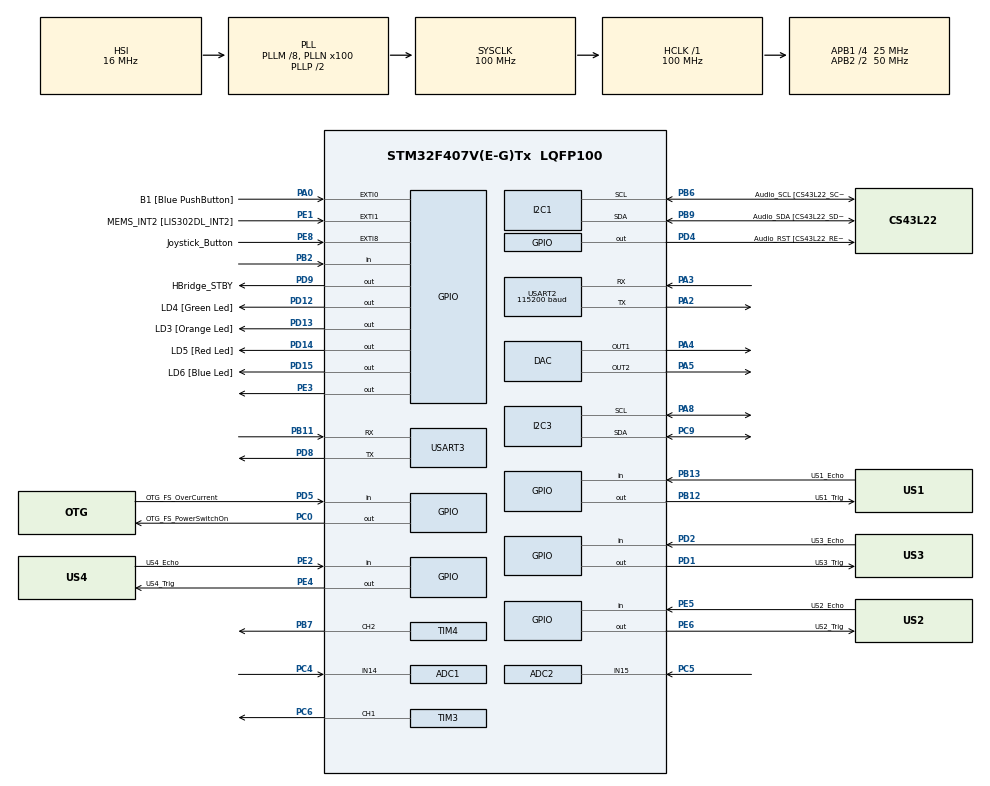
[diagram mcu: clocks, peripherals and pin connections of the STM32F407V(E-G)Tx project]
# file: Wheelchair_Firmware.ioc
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ADC1.Channel-2\#ChannelRegularConversion=ADC_CHANNEL_14
ADC1.ClockPrescaler=ADC_CLOCK_SYNC_PCLK_DIV4
ADC1.NbrOfConversionFlag=1
ADC1.Rank-2\#ChannelRegularConversion=1
ADC1.SamplingTime-2\#ChannelRegularConversion=ADC_SAMPLETIME_3CYCLES
ADC1.master=1
ADC2.Channel-0\#ChannelRegularConversion=ADC_CHANNEL_15
ADC2.ClockPrescaler=ADC_CLOCK_SYNC_PCLK_DIV4
ADC2.NbrOfConversionFlag=1
ADC2.Rank-0\#ChannelRegularConversion=1
ADC2.SamplingTime-0\#ChannelRegularConversion=ADC_SAMPLETIME_3CYCLES
I2C3.DualAddressMode=I2C_DUALADDRESS_DISABLE
I2C3.GeneralCallMode=I2C_GENERALCALL_ENABLE
I2C3.I2C_Mode=I2C_Fast
I2C3.NoStretchMode=I2C_NOSTRETCH_DISABLE
I2C3.OwnAddress=0x10
Mcu.Family=STM32F4
Mcu.Name=STM32F407V(E-G)Tx
Mcu.Package=LQFP100
NVIC.EXTI0_IRQn=true\:0\:0\:false\:false\:true\:true\:true
NVIC.EXTI9_5_IRQn=true\:1\:0\:true\:true\:true\:1\:true\:true
NVIC.PriorityGroup=NVIC_PRIORITYGROUP_4
PA0-WKUP.GPIO_Label=B1 [Blue PushButton]
PA0-WKUP.Signal=GPXTI0
PA10.GPIO_Label=OTG_FS_ID
PA10.GPIO_Mode=GPIO_MODE_AF_PP
PA10.GPIO_PuPd=GPIO_NOPULL
PA10.GPIO_Speed=GPIO_SPEED_FREQ_LOW
PA10.Signal=USB_OTG_FS_ID
PA11.GPIO_Label=OTG_FS_DM
PA11.GPIO_Mode=GPIO_MODE_AF_PP
PA11.GPIO_PuPd=GPIO_NOPULL
PA11.GPIO_Speed=GPIO_SPEED_FREQ_LOW
PA11.Signal=USB_OTG_FS_DM
PA12.GPIO_Label=OTG_FS_DP
PA12.GPIO_Mode=GPIO_MODE_AF_PP
PA12.GPIO_PuPd=GPIO_NOPULL
PA12.GPIO_Speed=GPIO_SPEED_FREQ_LOW
PA12.Signal=USB_OTG_FS_DP
PA13.GPIO_Label=SWDIO
PA13.Signal=SYS_JTMS-SWDIO
PA14.GPIO_Label=SWCLK
PA14.Signal=SYS_JTCK-SWCLK
PA2.Mode=Asynchronous
PA2.Signal=USART2_TX
PA3.Mode=Asynchronous
PA3.Signal=USART2_RX
PA4.Signal=COMP_DAC1_group
PA5.Signal=COMP_DAC2_group
PA6.GPIO_Label=SPI1_MISO [LIS302DL_SDO]
PA6.GPIO_Mode=GPIO_MODE_AF_PP
PA6.GPIO_PuPd=GPIO_NOPULL
PA6.GPIO_Speed=GPIO_SPEED_FREQ_LOW
PA6.Signal=SPI1_MISO
PA7.GPIO_Label=SPI1_MOSI [LIS302DL_SDA/SDI/SDO]
PA7.GPIO_Mode=GPIO_MODE_AF_PP
PA7.GPIO_PuPd=GPIO_NOPULL
PA7.GPIO_Speed=GPIO_SPEED_FREQ_LOW
PA7.Signal=SPI1_MOSI
PA8.Mode=I2C
PA8.Signal=I2C3_SCL
PA9.GPIO_Label=VBUS_FS
PA9.GPIO_Mode=GPIO_MODE_INPUT
PA9.GPIO_PuPd=GPIO_NOPULL
PA9.Signal=USB_OTG_FS_VBUS
PB10.GPIO_Label=CLK_IN [MP45DT02_CLK]
PB10.GPIO_Mode=GPIO_MODE_AF_PP
PB10.GPIO_PuPd=GPIO_NOPULL
PB10.GPIO_Speed=GPIO_SPEED_FREQ_LOW
PB10.Signal=I2S2_CK
PB11.Mode=Asynchronous
PB11.Signal=USART3_RX
PB12.GPIO_Label=US1_Trig
PB12.Signal=GPIO_Output
PB13.GPIO_Label=US1_Echo
PB13.Signal=GPIO_Input
PB2.Signal=GPIO_Input
PB3.GPIO_Label=SWO
PB3.Signal=SYS_JTDO-SWO
PB6.GPIO_Label=Audio_SCL [CS43L22_SCL]
PB6.GPIO_Mode=GPIO_MODE_AF_OD
PB6.GPIO_PuPd=GPIO_NOPULL
PB6.GPIO_Speed=GPIO_SPEED_FREQ_LOW
PB6.Mode=I2C
PB6.Signal=I2C1_SCL
PB7.Signal=S_TIM4_CH2
PB9.GPIO_Label=Audio_SDA [CS43L22_SDA]
PB9.GPIO_Mode=GPIO_MODE_AF_OD
PB9.GPIO_PuPd=GPIO_NOPULL
PB9.GPIO_Speed=GPIO_SPEED_FREQ_LOW
PB9.Mode=I2C
PB9.Signal=I2C1_SDA
PC0.GPIO_Label=OTG_FS_PowerSwitchOn
PC0.GPIO_PuPd=GPIO_NOPULL
PC0.GPIO_Speed=GPIO_SPEED_FREQ_LOW
PC0.PinState=GPIO_PIN_SET
PC0.Signal=GPIO_Output
PC10.GPIO_Label=I2S3_SCK [CS43L22_SCLK]
PC10.GPIO_Mode=GPIO_MODE_AF_PP
PC10.GPIO_PuPd=GPIO_NOPULL
PC10.GPIO_Speed=GPIO_SPEED_FREQ_LOW
PC10.Signal=I2S3_CK
PC12.GPIO_Label=I2S3_SD [CS43L22_SDIN]
PC12.GPIO_Mode=GPIO_MODE_AF_PP
PC12.GPIO_PuPd=GPIO_NOPULL
PC12.GPIO_Speed=GPIO_SPEED_FREQ_LOW
PC12.Signal=I2S3_SD
PC14-OSC32_IN.GPIO_Label=PC14-OSC32_IN
PC14-OSC32_IN.Signal=RCC_OSC32_IN
PC15-OSC32_OUT.GPIO_Label=PC15-OSC32_OUT
PC15-OSC32_OUT.Signal=RCC_OSC32_OUT
PC3.GPIO_Label=PDM_OUT [MP45DT02_DOUT]
PC3.GPIO_Mode=GPIO_MODE_AF_PP
PC3.GPIO_PuPd=GPIO_NOPULL
PC3.GPIO_Speed=GPIO_SPEED_FREQ_LOW
PC3.Signal=I2S2_SD
PC4.Signal=ADCx_IN14
PC5.Signal=ADCx_IN15
PC6.Signal=S_TIM3_CH1
PC7.GPIO_Label=I2S3_MCK [CS43L22_MCLK]
PC7.GPIO_Mode=GPIO_MODE_AF_PP
PC7.GPIO_PuPd=GPIO_NOPULL
PC7.GPIO_Speed=GPIO_SPEED_FREQ_LOW
PC7.Signal=I2S3_MCK
PC9.Mode=I2C
PC9.Signal=I2C3_SDA
PD1.GPIO_Label=US3_Trig
PD1.Signal=GPIO_Output
PD12.GPIO_Label=LD4 [Green Led]
PD12.GPIO_PuPd=GPIO_NOPULL
PD12.GPIO_Speed=GPIO_SPEED_FREQ_LOW
PD12.Signal=GPIO_Output
PD13.GPIO_Label=LD3 [Orange Led]
PD13.GPIO_PuPd=GPIO_NOPULL
PD13.GPIO_Speed=GPIO_SPEED_FREQ_LOW
PD13.Signal=GPIO_Output
PD14.GPIO_Label=LD5 [Red Led]
PD14.GPIO_PuPd=GPIO_NOPULL
PD14.GPIO_Speed=GPIO_SPEED_FREQ_LOW
PD14.Signal=GPIO_Output
PD15.GPIO_Label=LD6 [Blue Led]
PD15.GPIO_PuPd=GPIO_NOPULL
PD15.GPIO_Speed=GPIO_SPEED_FREQ_LOW
PD15.Signal=GPIO_Output
PD2.GPIO_Label=US3_Echo
PD2.Signal=GPIO_Input
PD4.GPIO_Label=Audio_RST [CS43L22_RESET]
PD4.GPIO_PuPd=GPIO_NOPULL
PD4.GPIO_Speed=GPIO_SPEED_FREQ_LOW
PD4.Signal=GPIO_Output
PD5.GPIO_Label=OTG_FS_OverCurrent
PD5.GPIO_Mode=GPIO_MODE_INPUT
PD5.GPIO_PuPd=GPIO_NOPULL
PD5.Signal=GPIO_Input
PD8.Mode=Asynchronous
PD8.Signal=USART3_TX
PD9.GPIO_Label=HBridge_STBY
PD9.GPIO_ModeDefaultOutputPP=GPIO_MODE_OUTPUT_OD
PD9.PinState=GPIO_PIN_SET
PD9.Signal=GPIO_Output
PE1.GPIO_Label=MEMS_INT2 [LIS302DL_INT2]
PE1.GPIO_ModeDefaultEXTI=GPIO_MODE_EVT_RISING
PE1.GPIO_PuPd=GPIO_NOPULL
PE1.Signal=GPXTI1
PE2.GPIO_Label=US4_Echo
PE2.Signal=GPIO_Input
PE3.Signal=GPIO_Output
PE4.GPIO_Label=US4_Trig
PE4.Signal=GPIO_Output
PE5.GPIO_Label=US2_Echo
PE5.Signal=GPIO_Input
PE6.GPIO_Label=US2_Trig
PE6.Signal=GPIO_Output
PE8.GPIO_Label=Joystick_Button
PE8.GPIO_ModeDefaultEXTI=GPIO_MODE_IT_FALLING
PE8.GPIO_PuPd=GPIO_PULLUP
PE8.Signal=GPXTI8
PH0-OSC_IN.GPIO_Label=PH0-OSC_IN
PH0-OSC_IN.Signal=RCC_OSC_IN
PH1-OSC_OUT.GPIO_Label=PH1-OSC_OUT
PH1-OSC_OUT.Signal=RCC_OSC_OUT
ProjectManager.HeapSize=0x200
ProjectManager.StackSize=0x400
ProjectManager.TargetToolchain=STM32CubeIDE
RCC.48MHZClocksFreq_Value=28571428.57142857
RCC.AHBFreq_Value=100000000
RCC.APB1CLKDivider=RCC_HCLK_DIV4
RCC.APB1Freq_Value=25000000
RCC.APB1TimFreq_Value=50000000
RCC.APB2CLKDivider=RCC_HCLK_DIV2
RCC.APB2Freq_Value=50000000
RCC.APB2TimFreq_Value=100000000
RCC.CortexFreq_Value=100000000
RCC.HCLKFreq_Value=100000000
RCC.HSE_VALUE=8000000
RCC.HSI_VALUE=16000000
RCC.LSE_VALUE=32768
RCC.PLLM=8
RCC.PLLN=100
RCC.PLLQ=7
RCC.SYSCLKFreq_VALUE=100000000
RCC.SYSCLKSource=RCC_SYSCLKSOURCE_PLLCLK
RCC.VCOOutputFreq_Value=200000000
SH.ADCx_IN14.0=ADC1_IN14,IN14
SH.ADCx_IN15.0=ADC2_IN15,IN15
SH.COMP_DAC1_group.0=DAC_OUT1,DAC_OUT1
SH.COMP_DAC2_group.0=DAC_OUT2,DAC_OUT2
SH.S_TIM3_CH1.0=TIM3_CH1,PWM Generation1 CH1
SH.S_TIM4_CH2.0=TIM4_CH2,PWM Generation2 CH2
TIM1.Period=65535
TIM1.Prescaler=168
TIM3.Channel-PWM\ Generation1\ CH1=TIM_CHANNEL_1
TIM3.Period=100
TIM3.Prescaler=80
TIM4.Channel-PWM\ Generation2\ CH2=TIM_CHANNEL_2
TIM4.Period=100
TIM4.Prescaler=12
USART2.BaudRate=115200
USART2.VirtualMode=VM_ASYNC
USART3.VirtualMode=VM_ASYNC
VP_TIM1_VS_ClockSourceINT.Mode=Internal
VP_TIM3_VS_ClockSourceINT.Mode=Internal
VP_TIM4_VS_ClockSourceINT.Mode=Internal
board=STM32F407G-DISC1

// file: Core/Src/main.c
/* USER CODE BEGIN Header */
/**
  ******************************************************************************
  * @file           : main.c
  * @brief          : Main program body
  ******************************************************************************
  * @attention
  *
  * <h2><center>&copy; Copyright (c) 2020 STMicroelectronics.
  * All rights reserved.</center></h2>
  *
  * This software component is licensed by ST under BSD 3-Clause license,
  * the "License"; You may not use this file except in compliance with the
  * License. You may obtain a copy of the License at:
  *                        opensource.org/licenses/BSD-3-Clause
  *
  ******************************************************************************
  */
/* USER CODE END Header */

#include "main.h"

/* USER CODE BEGIN Includes */
#include <string.h>
#include <stdio.h>
/* USER CODE END Includes */

/* USER CODE BEGIN PD */
// ADC
#define ADC_MAX 4096
#define ADC_MIN 0
// PWM (stick)
#define PWM_DUTY_MAX 100
#define STICK_Y_MID 2152
#define STICK_X_MID 2033
#define STICK_MARGIN 300
// PWM (voice)
#define VOICE_PWM 50
// H-Bridge GPIOs
#define BRIDGE_GPIO GPIOD
#define BRIDGE_PIN_1 GPIO_PIN_12
#define BRIDGE_PIN_2 GPIO_PIN_13
#define BRIDGE_PIN_3 GPIO_PIN_14
#define BRIDGE_PIN_4 GPIO_PIN_15
// Ultrasonic Min Distance
#define US_MIN 25
// UART
#define UART_TIMEOUT 100
/* USER CODE END PD */

ADC_HandleTypeDef hadc1;
ADC_HandleTypeDef hadc2;

DAC_HandleTypeDef hdac;

I2C_HandleTypeDef hi2c1;
I2C_HandleTypeDef hi2c3;

TIM_HandleTypeDef htim1;
TIM_HandleTypeDef htim3;
TIM_HandleTypeDef htim4;

UART_HandleTypeDef huart2;
UART_HandleTypeDef huart3;

/* USER CODE BEGIN PV */
static uint16_t ADC_1, ADC_2; // ADC values
static uint16_t PWM_1, PWM_2; // PWM values (range 0 - 99)
static GPIO_PinState
    BRIDGE_PIN_1_State, BRIDGE_PIN_2_State, BRIDGE_PIN_3_State, BRIDGE_PIN_4_State;
GPIO_PinState button_state;
volatile uint8_t cmd[UART_CMD_LENGTH]; // UART receive cmd
volatile uint8_t voice = 0;
uint16_t count_1, count_2, count_3;
uint16_t distance_1, distance_2, distance_3;
char msg_1[50];
char msg_2[50];
char msg_3[50];
/* USER CODE END PV */

void SystemClock_Config(void);
static void MX_GPIO_Init(void);
static void MX_ADC1_Init(void);
static void MX_USART2_UART_Init(void);
static void MX_ADC2_Init(void);
static void MX_I2C1_Init(void);
static void MX_DAC_Init(void);
static void MX_I2C3_Init(void);
static void MX_TIM3_Init(void);
static void MX_TIM4_Init(void);
static void MX_USART3_UART_Init(void);
static void MX_TIM1_Init(void);
static void MX_NVIC_Init(void);
/* USER CODE BEGIN PFP */
static uint16_t ADC_Read(ADC_HandleTypeDef*);
static void manual_driving(void);
static void voice_driving(void);

static void forward(void);
static void backward(void);
static void stop(void);
static void clockwise(void);
static void counterclockwise(void);
static void Ultrasonic_Read(GPIO_TypeDef* GPIOx, uint16_t Trig_Pin,
          uint16_t Echo_Pin, uint16_t* count, uint16_t* distance);
static void Delay_us(uint16_t);
static void Reset_Timer_us();
static uint16_t Get_Timer_us();

/* USER CODE END PFP */

/* USER CODE BEGIN 0 */
// FOR DEBUGGING
int CASE;
/* USER CODE END 0 */

int main(void)
{

  /* MCU Configuration--------------------------------------------------------*/

  /* Reset of all peripherals, Initializes the Flash interface and the Systick. */
  HAL_Init();

  /* Configure the system clock */
  SystemClock_Config();

  /* Initialize all configured peripherals */
  MX_GPIO_Init();
  MX_ADC1_Init();
  MX_USART2_UART_Init();
  MX_ADC2_Init();
  MX_I2C1_Init();
  MX_DAC_Init();
  MX_I2C3_Init();
  MX_TIM3_Init();
  MX_TIM4_Init();
  MX_USART3_UART_Init();
  MX_TIM1_Init();

  /* Initialize interrupts */
  MX_NVIC_Init();

  /* Infinite loop */
  /* USER CODE BEGIN WHILE */
  // Start TIM1 (for us delay)
  HAL_TIM_Base_Start(&htim1);
  // Start PWMs
  HAL_TIM_PWM_Start (&htim3, TIM_CHANNEL_1);
  HAL_TIM_PWM_Start (&htim4, TIM_CHANNEL_2);
  while (1)
  {
    if (!voice)
    {
      // Read ADC value
      ADC_1 = ADC_Read(&hadc1);
      ADC_2 = ADC_Read(&hadc2);
      // Motor controlling logics
      manual_driving();
    }
    else
    {
      HAL_UART_Receive (&huart3, (uint8_t*)cmd, UART_CMD_LENGTH, UART_TIMEOUT); // receiving message from pi
      // Read distances
      Ultrasonic_Read(GPIOE, US4_Trig_Pin, US4_Echo_Pin, &count_1, &distance_1);
      Ultrasonic_Read(GPIOE, US2_Trig_Pin, US2_Echo_Pin, &count_2, &distance_2);
      Ultrasonic_Read(GPIOD, US3_Trig_Pin, US3_Echo_Pin, &count_3, &distance_3);
      if ((distance_1 < US_MIN) || (distance_2 < US_MIN) || (distance_3 < US_MIN))
      {
        cmd[0] = ' ';
      }
      // Motor controlling logics
      voice_driving();

      // debugging message
      sprintf(msg_1, "delay_1 = %d us, distance_1 = %d cm\r\n ", count_1, distance_1);
      sprintf(msg_2, "delay_2 = %d us, distance_2 = %d cm\r\n ", count_2, distance_2);
      sprintf(msg_3, "delay_3 = %d us, distance_3 = %d cm\r\n\r\n ", count_3, distance_3);
      HAL_UART_Transmit(&huart2, (uint8_t*)msg_1, strlen(msg_1), HAL_MAX_DELAY);
      HAL_UART_Transmit(&huart2, (uint8_t*)msg_2, strlen(msg_2), HAL_MAX_DELAY);
      HAL_UART_Transmit(&huart2, (uint8_t*)msg_3, strlen(msg_3), HAL_MAX_DELAY);
    }
    /* USER CODE END WHILE */

  }
}

void SystemClock_Config(void)
{
  RCC_OscInitTypeDef RCC_OscInitStruct = {0};
  RCC_ClkInitTypeDef RCC_ClkInitStruct = {0};

  /** Configure the main internal regulator output voltage
  */
  __HAL_RCC_PWR_CLK_ENABLE();
  __HAL_PWR_VOLTAGESCALING_CONFIG(PWR_REGULATOR_VOLTAGE_SCALE1);
  /** Initializes the CPU, AHB and APB busses clocks
  */
  RCC_OscInitStruct.OscillatorType = RCC_OSCILLATORTYPE_HSI;
  RCC_OscInitStruct.HSIState = RCC_HSI_ON;
  RCC_OscInitStruct.HSICalibrationValue = RCC_HSICALIBRATION_DEFAULT;
  RCC_OscInitStruct.PLL.PLLState = RCC_PLL_ON;
  RCC_OscInitStruct.PLL.PLLSource = RCC_PLLSOURCE_HSI;
  RCC_OscInitStruct.PLL.PLLM = 8;
  RCC_OscInitStruct.PLL.PLLN = 100;
  RCC_OscInitStruct.PLL.PLLP = RCC_PLLP_DIV2;
  RCC_OscInitStruct.PLL.PLLQ = 7;
  if (HAL_RCC_OscConfig(&RCC_OscInitStruct) != HAL_OK)
  {
    Error_Handler();
  }
  /** Initializes the CPU, AHB and APB busses clocks
  */
  RCC_ClkInitStruct.ClockType = RCC_CLOCKTYPE_HCLK|RCC_CLOCKTYPE_SYSCLK
                              |RCC_CLOCKTYPE_PCLK1|RCC_CLOCKTYPE_PCLK2;
  RCC_ClkInitStruct.SYSCLKSource = RCC_SYSCLKSOURCE_PLLCLK;
  RCC_ClkInitStruct.AHBCLKDivider = RCC_SYSCLK_DIV1;
  RCC_ClkInitStruct.APB1CLKDivider = RCC_HCLK_DIV4;
  RCC_ClkInitStruct.APB2CLKDivider = RCC_HCLK_DIV2;

  if (HAL_RCC_ClockConfig(&RCC_ClkInitStruct, FLASH_LATENCY_3) != HAL_OK)
  {
    Error_Handler();
  }
}

/**
  * @brief NVIC Configuration.
  * @retval None
  */
static void MX_NVIC_Init(void)
{
  /* EXTI9_5_IRQn interrupt configuration */
  HAL_NVIC_SetPriority(EXTI9_5_IRQn, 1, 0);
  HAL_NVIC_EnableIRQ(EXTI9_5_IRQn);
}

static void MX_ADC1_Init(void)
{

  ADC_ChannelConfTypeDef sConfig = {0};

  /** Configure the global features of the ADC (Clock, Resolution, Data Alignment and number of conversion)
  */
  hadc1.Instance = ADC1;
  hadc1.Init.ClockPrescaler = ADC_CLOCK_SYNC_PCLK_DIV4;
  hadc1.Init.Resolution = ADC_RESOLUTION_12B;
  hadc1.Init.ScanConvMode = DISABLE;
  hadc1.Init.ContinuousConvMode = DISABLE;
  hadc1.Init.DiscontinuousConvMode = DISABLE;
  hadc1.Init.ExternalTrigConvEdge = ADC_EXTERNALTRIGCONVEDGE_NONE;
  hadc1.Init.ExternalTrigConv = ADC_SOFTWARE_START;
  hadc1.Init.DataAlign = ADC_DATAALIGN_RIGHT;
  hadc1.Init.NbrOfConversion = 1;
  hadc1.Init.DMAContinuousRequests = DISABLE;
  hadc1.Init.EOCSelection = ADC_EOC_SINGLE_CONV;
  if (HAL_ADC_Init(&hadc1) != HAL_OK)
  {
    Error_Handler();
  }
  /** Configure for the selected ADC regular channel its corresponding rank in the sequencer and its sample time.
  */
  sConfig.Channel = ADC_CHANNEL_14;
  sConfig.Rank = 1;
  sConfig.SamplingTime = ADC_SAMPLETIME_3CYCLES;
  if (HAL_ADC_ConfigChannel(&hadc1, &sConfig) != HAL_OK)
  {
    Error_Handler();
  }

}

static void MX_ADC2_Init(void)
{

  ADC_ChannelConfTypeDef sConfig = {0};

  /** Configure the global features of the ADC (Clock, Resolution, Data Alignment and number of conversion)
  */
  hadc2.Instance = ADC2;
  hadc2.Init.ClockPrescaler = ADC_CLOCK_SYNC_PCLK_DIV4;
  hadc2.Init.Resolution = ADC_RESOLUTION_12B;
  hadc2.Init.ScanConvMode = DISABLE;
  hadc2.Init.ContinuousConvMode = DISABLE;
  hadc2.Init.DiscontinuousConvMode = DISABLE;
  hadc2.Init.ExternalTrigConvEdge = ADC_EXTERNALTRIGCONVEDGE_NONE;
  hadc2.Init.ExternalTrigConv = ADC_SOFTWARE_START;
  hadc2.Init.DataAlign = ADC_DATAALIGN_RIGHT;
  hadc2.Init.NbrOfConversion = 1;
  hadc2.Init.DMAContinuousRequests = DISABLE;
  hadc2.Init.EOCSelection = ADC_EOC_SINGLE_CONV;
  if (HAL_ADC_Init(&hadc2) != HAL_OK)
  {
    Error_Handler();
  }
  /** Configure for the selected ADC regular channel its corresponding rank in the sequencer and its sample time.
  */
  sConfig.Channel = ADC_CHANNEL_15;
  sConfig.Rank = 1;
  sConfig.SamplingTime = ADC_SAMPLETIME_3CYCLES;
  if (HAL_ADC_ConfigChannel(&hadc2, &sConfig) != HAL_OK)
  {
    Error_Handler();
  }

}

static void MX_DAC_Init(void)
{

  DAC_ChannelConfTypeDef sConfig = {0};

  /** DAC Initialization
  */
  hdac.Instance = DAC;
  if (HAL_DAC_Init(&hdac) != HAL_OK)
  {
    Error_Handler();
  }
  /** DAC channel OUT1 config
  */
  sConfig.DAC_Trigger = DAC_TRIGGER_NONE;
  sConfig.DAC_OutputBuffer = DAC_OUTPUTBUFFER_ENABLE;
  if (HAL_DAC_ConfigChannel(&hdac, &sConfig, DAC_CHANNEL_1) != HAL_OK)
  {
    Error_Handler();
  }
  /** DAC channel OUT2 config
  */
  if (HAL_DAC_ConfigChannel(&hdac, &sConfig, DAC_CHANNEL_2) != HAL_OK)
  {
    Error_Handler();
  }

}

static void MX_I2C1_Init(void)
{

  hi2c1.Instance = I2C1;
  hi2c1.Init.ClockSpeed = 100000;
  hi2c1.Init.DutyCycle = I2C_DUTYCYCLE_2;
  hi2c1.Init.OwnAddress1 = 0;
  hi2c1.Init.AddressingMode = I2C_ADDRESSINGMODE_7BIT;
  hi2c1.Init.DualAddressMode = I2C_DUALADDRESS_DISABLE;
  hi2c1.Init.OwnAddress2 = 0;
  hi2c1.Init.GeneralCallMode = I2C_GENERALCALL_DISABLE;
  hi2c1.Init.NoStretchMode = I2C_NOSTRETCH_DISABLE;
  if (HAL_I2C_Init(&hi2c1) != HAL_OK)
  {
    Error_Handler();
  }

}

static void MX_I2C3_Init(void)
{

  hi2c3.Instance = I2C3;
  hi2c3.Init.ClockSpeed = 400000;
  hi2c3.Init.DutyCycle = I2C_DUTYCYCLE_2;
  hi2c3.Init.OwnAddress1 = 32;
  hi2c3.Init.AddressingMode = I2C_ADDRESSINGMODE_7BIT;
  hi2c3.Init.DualAddressMode = I2C_DUALADDRESS_DISABLE;
  hi2c3.Init.OwnAddress2 = 0;
  hi2c3.Init.GeneralCallMode = I2C_GENERALCALL_ENABLE;
  hi2c3.Init.NoStretchMode = I2C_NOSTRETCH_DISABLE;
  if (HAL_I2C_Init(&hi2c3) != HAL_OK)
  {
    Error_Handler();
  }

}

static void MX_TIM1_Init(void)
{

  TIM_ClockConfigTypeDef sClockSourceConfig = {0};
  TIM_MasterConfigTypeDef sMasterConfig = {0};

  htim1.Instance = TIM1;
  htim1.Init.Prescaler = 168;
  htim1.Init.CounterMode = TIM_COUNTERMODE_UP;
  htim1.Init.Period = 65535;
  htim1.Init.ClockDivision = TIM_CLOCKDIVISION_DIV1;
  htim1.Init.RepetitionCounter = 0;
  htim1.Init.AutoReloadPreload = TIM_AUTORELOAD_PRELOAD_DISABLE;
  if (HAL_TIM_Base_Init(&htim1) != HAL_OK)
  {
    Error_Handler();
  }
  sClockSourceConfig.ClockSource = TIM_CLOCKSOURCE_INTERNAL;
  if (HAL_TIM_ConfigClockSource(&htim1, &sClockSourceConfig) != HAL_OK)
  {
    Error_Handler();
  }
  sMasterConfig.MasterOutputTrigger = TIM_TRGO_RESET;
  sMasterConfig.MasterSlaveMode = TIM_MASTERSLAVEMODE_DISABLE;
  if (HAL_TIMEx_MasterConfigSynchronization(&htim1, &sMasterConfig) != HAL_OK)
  {
    Error_Handler();
  }

}

static void MX_TIM3_Init(void)
{

  TIM_ClockConfigTypeDef sClockSourceConfig = {0};
  TIM_MasterConfigTypeDef sMasterConfig = {0};
  TIM_OC_InitTypeDef sConfigOC = {0};

  htim3.Instance = TIM3;
  htim3.Init.Prescaler = 80;
  htim3.Init.CounterMode = TIM_COUNTERMODE_UP;
  htim3.Init.Period = 100;
  htim3.Init.ClockDivision = TIM_CLOCKDIVISION_DIV1;
  htim3.Init.AutoReloadPreload = TIM_AUTORELOAD_PRELOAD_DISABLE;
  if (HAL_TIM_Base_Init(&htim3) != HAL_OK)
  {
    Error_Handler();
  }
  sClockSourceConfig.ClockSource = TIM_CLOCKSOURCE_INTERNAL;
  if (HAL_TIM_ConfigClockSource(&htim3, &sClockSourceConfig) != HAL_OK)
  {
    Error_Handler();
  }
  if (HAL_TIM_PWM_Init(&htim3) != HAL_OK)
  {
    Error_Handler();
  }
  sMasterConfig.MasterOutputTrigger = TIM_TRGO_RESET;
  sMasterConfig.MasterSlaveMode = TIM_MASTERSLAVEMODE_DISABLE;
  if (HAL_TIMEx_MasterConfigSynchronization(&htim3, &sMasterConfig) != HAL_OK)
  {
    Error_Handler();
  }
  sConfigOC.OCMode = TIM_OCMODE_PWM1;
  sConfigOC.Pulse = 0;
  sConfigOC.OCPolarity = TIM_OCPOLARITY_HIGH;
  sConfigOC.OCFastMode = TIM_OCFAST_DISABLE;
  if (HAL_TIM_PWM_ConfigChannel(&htim3, &sConfigOC, TIM_CHANNEL_1) != HAL_OK)
  {
    Error_Handler();
  }
  HAL_TIM_MspPostInit(&htim3);

}

static void MX_TIM4_Init(void)
{

  TIM_ClockConfigTypeDef sClockSourceConfig = {0};
  TIM_MasterConfigTypeDef sMasterConfig = {0};
  TIM_OC_InitTypeDef sConfigOC = {0};

  htim4.Instance = TIM4;
  htim4.Init.Prescaler = 12;
  htim4.Init.CounterMode = TIM_COUNTERMODE_UP;
  htim4.Init.Period = 100;
  htim4.Init.ClockDivision = TIM_CLOCKDIVISION_DIV1;
  htim4.Init.AutoReloadPreload = TIM_AUTORELOAD_PRELOAD_DISABLE;
  if (HAL_TIM_Base_Init(&htim4) != HAL_OK)
  {
    Error_Handler();
  }
  sClockSourceConfig.ClockSource = TIM_CLOCKSOURCE_INTERNAL;
  if (HAL_TIM_ConfigClockSource(&htim4, &sClockSourceConfig) != HAL_OK)
  {
    Error_Handler();
  }
  if (HAL_TIM_PWM_Init(&htim4) != HAL_OK)
  {
    Error_Handler();
  }
  sMasterConfig.MasterOutputTrigger = TIM_TRGO_RESET;
  sMasterConfig.MasterSlaveMode = TIM_MASTERSLAVEMODE_DISABLE;
  if (HAL_TIMEx_MasterConfigSynchronization(&htim4, &sMasterConfig) != HAL_OK)
  {
    Error_Handler();
  }
  sConfigOC.OCMode = TIM_OCMODE_PWM1;
  sConfigOC.Pulse = 0;
  sConfigOC.OCPolarity = TIM_OCPOLARITY_HIGH;
  sConfigOC.OCFastMode = TIM_OCFAST_DISABLE;
  if (HAL_TIM_PWM_ConfigChannel(&htim4, &sConfigOC, TIM_CHANNEL_2) != HAL_OK)
  {
    Error_Handler();
  }
  HAL_TIM_MspPostInit(&htim4);

}

static void MX_USART2_UART_Init(void)
{

  huart2.Instance = USART2;
  huart2.Init.BaudRate = 115200;
  huart2.Init.WordLength = UART_WORDLENGTH_8B;
  huart2.Init.StopBits = UART_STOPBITS_1;
  huart2.Init.Parity = UART_PARITY_NONE;
  huart2.Init.Mode = UART_MODE_TX_RX;
  huart2.Init.HwFlowCtl = UART_HWCONTROL_NONE;
  huart2.Init.OverSampling = UART_OVERSAMPLING_16;
  if (HAL_UART_Init(&huart2) != HAL_OK)
  {
    Error_Handler();
  }

}

static void MX_USART3_UART_Init(void)
{

  huart3.Instance = USART3;
  huart3.Init.BaudRate = 115200;
  huart3.Init.WordLength = UART_WORDLENGTH_8B;
  huart3.Init.StopBits = UART_STOPBITS_1;
  huart3.Init.Parity = UART_PARITY_NONE;
  huart3.Init.Mode = UART_MODE_TX_RX;
  huart3.Init.HwFlowCtl = UART_HWCONTROL_NONE;
  huart3.Init.OverSampling = UART_OVERSAMPLING_16;
  if (HAL_UART_Init(&huart3) != HAL_OK)
  {
    Error_Handler();
  }

}

static void MX_GPIO_Init(void)
{
  GPIO_InitTypeDef GPIO_InitStruct = {0};

  /* GPIO Ports Clock Enable */
  __HAL_RCC_GPIOE_CLK_ENABLE();
  __HAL_RCC_GPIOC_CLK_ENABLE();
  __HAL_RCC_GPIOH_CLK_ENABLE();
  __HAL_RCC_GPIOA_CLK_ENABLE();
  __HAL_RCC_GPIOB_CLK_ENABLE();
  __HAL_RCC_GPIOD_CLK_ENABLE();

  /*Configure GPIO pin Output Level */
  HAL_GPIO_WritePin(GPIOE, GPIO_PIN_3|US4_Trig_Pin|US2_Trig_Pin, GPIO_PIN_RESET);

  /*Configure GPIO pin Output Level */
  HAL_GPIO_WritePin(OTG_FS_PowerSwitchOn_GPIO_Port, OTG_FS_PowerSwitchOn_Pin, GPIO_PIN_SET);

  /*Configure GPIO pin Output Level */
  HAL_GPIO_WritePin(US1_Trig_GPIO_Port, US1_Trig_Pin, GPIO_PIN_RESET);

  /*Configure GPIO pin Output Level */
  HAL_GPIO_WritePin(HBridge_STBY_GPIO_Port, HBridge_STBY_Pin, GPIO_PIN_SET);

  /*Configure GPIO pin Output Level */
  HAL_GPIO_WritePin(GPIOD, LD4_Pin|LD3_Pin|LD5_Pin|LD6_Pin
                          |US3_Trig_Pin|Audio_RST_Pin, GPIO_PIN_RESET);

  /*Configure GPIO pins : US4_Echo_Pin US2_Echo_Pin */
  GPIO_InitStruct.Pin = US4_Echo_Pin|US2_Echo_Pin;
  GPIO_InitStruct.Mode = GPIO_MODE_INPUT;
  GPIO_InitStruct.Pull = GPIO_NOPULL;
  HAL_GPIO_Init(GPIOE, &GPIO_InitStruct);

  /*Configure GPIO pins : PE3 US4_Trig_Pin US2_Trig_Pin */
  GPIO_InitStruct.Pin = GPIO_PIN_3|US4_Trig_Pin|US2_Trig_Pin;
  GPIO_InitStruct.Mode = GPIO_MODE_OUTPUT_PP;
  GPIO_InitStruct.Pull = GPIO_NOPULL;
  GPIO_InitStruct.Speed = GPIO_SPEED_FREQ_LOW;
  HAL_GPIO_Init(GPIOE, &GPIO_InitStruct);

  /*Configure GPIO pin : OTG_FS_PowerSwitchOn_Pin */
  GPIO_InitStruct.Pin = OTG_FS_PowerSwitchOn_Pin;
  GPIO_InitStruct.Mode = GPIO_MODE_OUTPUT_PP;
  GPIO_InitStruct.Pull = GPIO_NOPULL;
  GPIO_InitStruct.Speed = GPIO_SPEED_FREQ_LOW;
  HAL_GPIO_Init(OTG_FS_PowerSwitchOn_GPIO_Port, &GPIO_InitStruct);

  /*Configure GPIO pin : PDM_OUT_Pin */
  GPIO_InitStruct.Pin = PDM_OUT_Pin;
  GPIO_InitStruct.Mode = GPIO_MODE_AF_PP;
  GPIO_InitStruct.Pull = GPIO_NOPULL;
  GPIO_InitStruct.Speed = GPIO_SPEED_FREQ_LOW;
  GPIO_InitStruct.Alternate = GPIO_AF5_SPI2;
  HAL_GPIO_Init(PDM_OUT_GPIO_Port, &GPIO_InitStruct);

  /*Configure GPIO pin : B1_Pin */
  GPIO_InitStruct.Pin = B1_Pin;
  GPIO_InitStruct.Mode = GPIO_MODE_IT_RISING;
  GPIO_InitStruct.Pull = GPIO_NOPULL;
  HAL_GPIO_Init(B1_GPIO_Port, &GPIO_InitStruct);

  /*Configure GPIO pins : SPI1_MISO_Pin SPI1_MOSI_Pin */
  GPIO_InitStruct.Pin = SPI1_MISO_Pin|SPI1_MOSI_Pin;
  GPIO_InitStruct.Mode = GPIO_MODE_AF_PP;
  GPIO_InitStruct.Pull = GPIO_NOPULL;
  GPIO_InitStruct.Speed = GPIO_SPEED_FREQ_LOW;
  GPIO_InitStruct.Alternate = GPIO_AF5_SPI1;
  HAL_GPIO_Init(GPIOA, &GPIO_InitStruct);

  /*Configure GPIO pins : PB2 US1_Echo_Pin */
  GPIO_InitStruct.Pin = GPIO_PIN_2|US1_Echo_Pin;
  GPIO_InitStruct.Mode = GPIO_MODE_INPUT;
  GPIO_InitStruct.Pull = GPIO_NOPULL;
  HAL_GPIO_Init(GPIOB, &GPIO_InitStruct);

  /*Configure GPIO pin : Joystick_Button_Pin */
  GPIO_InitStruct.Pin = Joystick_Button_Pin;
  GPIO_InitStruct.Mode = GPIO_MODE_IT_FALLING;
  GPIO_InitStruct.Pull = GPIO_PULLUP;
  HAL_GPIO_Init(Joystick_Button_GPIO_Port, &GPIO_InitStruct);

  /*Configure GPIO pin : CLK_IN_Pin */
  GPIO_InitStruct.Pin = CLK_IN_Pin;
  GPIO_InitStruct.Mode = GPIO_MODE_AF_PP;
  GPIO_InitStruct.Pull = GPIO_NOPULL;
  GPIO_InitStruct.Speed = GPIO_SPEED_FREQ_LOW;
  GPIO_InitStruct.Alternate = GPIO_AF5_SPI2;
  HAL_GPIO_Init(CLK_IN_GPIO_Port, &GPIO_InitStruct);

  /*Configure GPIO pin : US1_Trig_Pin */
  GPIO_InitStruct.Pin = US1_Trig_Pin;
  GPIO_InitStruct.Mode = GPIO_MODE_OUTPUT_PP;
  GPIO_InitStruct.Pull = GPIO_NOPULL;
  GPIO_InitStruct.Speed = GPIO_SPEED_FREQ_LOW;
  HAL_GPIO_Init(US1_Trig_GPIO_Port, &GPIO_InitStruct);

  /*Configure GPIO pin : HBridge_STBY_Pin */
  GPIO_InitStruct.Pin = HBridge_STBY_Pin;
  GPIO_InitStruct.Mode = GPIO_MODE_OUTPUT_OD;
  GPIO_InitStruct.Pull = GPIO_NOPULL;
  GPIO_InitStruct.Speed = GPIO_SPEED_FREQ_LOW;
  HAL_GPIO_Init(HBridge_STBY_GPIO_Port, &GPIO_InitStruct);

  /*Configure GPIO pins : LD4_Pin LD3_Pin LD5_Pin LD6_Pin
                           US3_Trig_Pin Audio_RST_Pin */
  GPIO_InitStruct.Pin = LD4_Pin|LD3_Pin|LD5_Pin|LD6_Pin
                          |US3_Trig_Pin|Audio_RST_Pin;
  GPIO_InitStruct.Mode = GPIO_MODE_OUTPUT_PP;
  GPIO_InitStruct.Pull = GPIO_NOPULL;
  GPIO_InitStruct.Speed = GPIO_SPEED_FREQ_LOW;
  HAL_GPIO_Init(GPIOD, &GPIO_InitStruct);

  /*Configure GPIO pins : I2S3_MCK_Pin I2S3_SCK_Pin I2S3_SD_Pin */
  GPIO_InitStruct.Pin = I2S3_MCK_Pin|I2S3_SCK_Pin|I2S3_SD_Pin;
  GPIO_InitStruct.Mode = GPIO_MODE_AF_PP;
  GPIO_InitStruct.Pull = GPIO_NOPULL;
  GPIO_InitStruct.Speed = GPIO_SPEED_FREQ_LOW;
  GPIO_InitStruct.Alternate = GPIO_AF6_SPI3;
  HAL_GPIO_Init(GPIOC, &GPIO_InitStruct);

  /*Configure GPIO pin : VBUS_FS_Pin */
  GPIO_InitStruct.Pin = VBUS_FS_Pin;
  GPIO_InitStruct.Mode = GPIO_MODE_INPUT;
  GPIO_InitStruct.Pull = GPIO_NOPULL;
  HAL_GPIO_Init(VBUS_FS_GPIO_Port, &GPIO_InitStruct);

  /*Configure GPIO pins : OTG_FS_ID_Pin OTG_FS_DM_Pin OTG_FS_DP_Pin */
  GPIO_InitStruct.Pin = OTG_FS_ID_Pin|OTG_FS_DM_Pin|OTG_FS_DP_Pin;
  GPIO_InitStruct.Mode = GPIO_MODE_AF_PP;
  GPIO_InitStruct.Pull = GPIO_NOPULL;
  GPIO_InitStruct.Speed = GPIO_SPEED_FREQ_LOW;
  GPIO_InitStruct.Alternate = GPIO_AF10_OTG_FS;
  HAL_GPIO_Init(GPIOA, &GPIO_InitStruct);

  /*Configure GPIO pins : US3_Echo_Pin OTG_FS_OverCurrent_Pin */
  GPIO_InitStruct.Pin = US3_Echo_Pin|OTG_FS_OverCurrent_Pin;
  GPIO_InitStruct.Mode = GPIO_MODE_INPUT;
  GPIO_InitStruct.Pull = GPIO_NOPULL;
  HAL_GPIO_Init(GPIOD, &GPIO_InitStruct);

  /*Configure GPIO pin : MEMS_INT2_Pin */
  GPIO_InitStruct.Pin = MEMS_INT2_Pin;
  GPIO_InitStruct.Mode = GPIO_MODE_EVT_RISING;
  GPIO_InitStruct.Pull = GPIO_NOPULL;
  HAL_GPIO_Init(MEMS_INT2_GPIO_Port, &GPIO_InitStruct);

  /* EXTI interrupt init*/
  HAL_NVIC_SetPriority(EXTI0_IRQn, 0, 0);
  HAL_NVIC_EnableIRQ(EXTI0_IRQn);

}

/* USER CODE BEGIN 4 */
/**
 *  @brief Read ADC value
 *  @param pointer to ADC handler
 *  @retval ADC value
 */
static uint16_t ADC_Read(ADC_HandleTypeDef* handler)
{
  HAL_ADC_Start(handler);
  HAL_ADC_PollForConversion(handler, HAL_MAX_DELAY);
  return HAL_ADC_GetValue(handler);
}

/**
 *  @brief Manual driving mode, set GPIOs and PWM
 *  @param None
 *  @retval None
 */
static void manual_driving(void)
{
  if (ADC_1 < (STICK_Y_MID - STICK_MARGIN)) // y is 0
  {
  	// Case I, II, or III
  	backward();
  }
  else if (ADC_1 > (STICK_Y_MID + STICK_MARGIN))
  {
  	// Case VII, VIII, or IX
  	forward();
  }
  else
  {
    if (ADC_2 > (STICK_X_MID + STICK_MARGIN))
    {
	    // Case IV
    	counterclockwise();
    	CASE = 4;
    }
    else if (ADC_2 < (STICK_X_MID - STICK_MARGIN))
    {
	    // Case VI
    	clockwise();
    	CASE = 6;
    }
    else
    {
      // Case V
      stop();
      CASE = 5;
    }
  }
  // updating GPIO value
  HAL_GPIO_WritePin(BRIDGE_GPIO, BRIDGE_PIN_1, BRIDGE_PIN_1_State);
  HAL_GPIO_WritePin(BRIDGE_GPIO, BRIDGE_PIN_2, BRIDGE_PIN_2_State);
  HAL_GPIO_WritePin(BRIDGE_GPIO, BRIDGE_PIN_3, BRIDGE_PIN_3_State);
  HAL_GPIO_WritePin(BRIDGE_GPIO, BRIDGE_PIN_4, BRIDGE_PIN_4_State);
  // updating PWM value
  __HAL_TIM_SET_COMPARE(&htim3, TIM_CHANNEL_1, PWM_1);
  __HAL_TIM_SET_COMPARE(&htim4, TIM_CHANNEL_2, PWM_2);
}

/**
 *  @brief Auto driving mode, set GPIOs and PWM
 *  @param None
 *  @retval None
 */
static void voice_driving()
{
  if (cmd[0] =='f')
  {
    backward();
  }
  else if (cmd[0] == 'l')
  {
    counterclockwise();
  }
  else if (cmd[0] == 'r')
  {
    clockwise();
  }
  else
  {
    stop();
  }
  PWM_1 = VOICE_PWM;
  PWM_2 = VOICE_PWM;
  // updating GPIO value
  HAL_GPIO_WritePin(BRIDGE_GPIO, BRIDGE_PIN_1, BRIDGE_PIN_1_State);
  HAL_GPIO_WritePin(BRIDGE_GPIO, BRIDGE_PIN_2, BRIDGE_PIN_2_State);
  HAL_GPIO_WritePin(BRIDGE_GPIO, BRIDGE_PIN_3, BRIDGE_PIN_3_State);
  HAL_GPIO_WritePin(BRIDGE_GPIO, BRIDGE_PIN_4, BRIDGE_PIN_4_State);
  // updating PWM value
  __HAL_TIM_SET_COMPARE(&htim3, TIM_CHANNEL_1, PWM_1);
  __HAL_TIM_SET_COMPARE(&htim4, TIM_CHANNEL_2, PWM_2);
  if (cmd[0] == 'l' || cmd[0] == 'r') {
    HAL_Delay(1000);
    cmd[0] = ' ';
  }
}

/**
 * 	@brief Driving control case I, IV, VII: forward and/or turn
 * 	@param None
 * 	@retval None
 */
static void backward()
{
	// motor direction
	BRIDGE_PIN_1_State = GPIO_PIN_SET;
	BRIDGE_PIN_2_State = GPIO_PIN_RESET;
	BRIDGE_PIN_3_State = GPIO_PIN_SET;
	BRIDGE_PIN_4_State = GPIO_PIN_RESET;
	// PWM Mapping
	float PosY_Percent =
	    (float)(STICK_Y_MID - ADC_1) / STICK_Y_MID * PWM_DUTY_MAX;
	if (ADC_2 > (STICK_X_MID + STICK_MARGIN))
	{
	  // Case I
    PWM_2 = PosY_Percent;
    PWM_1 = (float)(ADC_MAX - ADC_2) / (ADC_MAX - STICK_X_MID) * PWM_2;
    CASE = 1;
	}
	else if (ADC_2 < (STICK_X_MID - STICK_MARGIN))
	{
	  // Case III
	  PWM_1 = PosY_Percent;
    PWM_2 = (float)ADC_2 / STICK_X_MID * PWM_1;
    CASE = 3;
	}
	else
	{
	  // Case II
	  PWM_1 = PosY_Percent;
	  PWM_2 = PWM_1;
	  CASE = 2;
	}
}

/**
 * 	@brief Driving control case III, VI, IX: backward and/or turn
 * 	@param None
 * 	@retval None
 */
static void forward()
{
	// motor direction
	BRIDGE_PIN_1_State = GPIO_PIN_RESET;
  BRIDGE_PIN_2_State = GPIO_PIN_SET;
  BRIDGE_PIN_3_State = GPIO_PIN_RESET;
  BRIDGE_PIN_4_State = GPIO_PIN_SET;
	// PWM Mapping
	float NegY_Percent =
	    (float)(ADC_1 - STICK_Y_MID) / (ADC_MAX - STICK_Y_MID) * PWM_DUTY_MAX;
  if (ADC_2 > (STICK_X_MID + STICK_MARGIN))
  {
    // Case VII
    PWM_2 = NegY_Percent;
    PWM_1 = (float)(ADC_MAX - ADC_2) / (ADC_MAX - STICK_X_MID) * PWM_DUTY_MAX;
    CASE = 7;
  }
  else if (ADC_2 < (STICK_X_MID - STICK_MARGIN))
  {
    // Case IX
    PWM_1 = NegY_Percent;
    PWM_2 = (float)ADC_2 / STICK_X_MID * PWM_DUTY_MAX;
    CASE = 9;
  }
  else
  {
    // Case VIII
    PWM_1 = NegY_Percent;
    PWM_2 = PWM_1;
    CASE = 8;
  }
}

/**
 *  @brief Driving control case V: stop
 *  @param None
 *  @retval None
 */
static void stop()
{
	// motor direction
	BRIDGE_PIN_1_State = GPIO_PIN_RESET;
  BRIDGE_PIN_2_State = GPIO_PIN_RESET;
  BRIDGE_PIN_3_State = GPIO_PIN_RESET;
  BRIDGE_PIN_4_State = GPIO_PIN_RESET;
	// PWM mapping
	PWM_1 = 0;
	PWM_2 = 0;
}

/**
 *  @brief Driving control case VII: rotate clockwise
 *  @param None
 *  @retval None
 */
static void clockwise()
{
	// motor direction
	BRIDGE_PIN_1_State = GPIO_PIN_SET;
  BRIDGE_PIN_2_State = GPIO_PIN_RESET;
  BRIDGE_PIN_3_State = GPIO_PIN_RESET;
  BRIDGE_PIN_4_State = GPIO_PIN_SET;
	// PWM mapping
	PWM_1 = (float)(STICK_Y_MID - ADC_2) / STICK_Y_MID * PWM_DUTY_MAX;
	PWM_2 = PWM_1;
}

/**
 *  @brief Driving control case II: rotate counter-clockwise
 *  @param None
 *  @retval None
 */
static void counterclockwise()
{
	// motor direction
	BRIDGE_PIN_1_State = GPIO_PIN_RESET;
  BRIDGE_PIN_2_State = GPIO_PIN_SET;
  BRIDGE_PIN_3_State = GPIO_PIN_SET;
  BRIDGE_PIN_4_State = GPIO_PIN_RESET;
	// PWM mapping
	PWM_1 = (float)(ADC_2 - STICK_Y_MID) / (ADC_MAX - STICK_Y_MID) * PWM_DUTY_MAX;
	PWM_2 = PWM_1;
}

/**
 *  @brief Get ultrasonic distance
 *  @param GPIO_TypeDef* GPIOx, uint16_t GPIO_Pin
 *  @retval None
 */
static void Ultrasonic_Read(GPIO_TypeDef* GPIOx, uint16_t Trig_Pin,
    uint16_t Echo_Pin, uint16_t* count, uint16_t* distance)
{
  HAL_GPIO_WritePin(GPIOx, Trig_Pin, GPIO_PIN_SET);
  Delay_us(10);
  HAL_GPIO_WritePin(GPIOx, Trig_Pin, GPIO_PIN_RESET);
  while (HAL_GPIO_ReadPin(GPIOx, Echo_Pin) == GPIO_PIN_RESET);
  Reset_Timer_us();
  while ((HAL_GPIO_ReadPin(GPIOx, Echo_Pin) == GPIO_PIN_SET) && (Get_Timer_us() < 65535));
  *count = Get_Timer_us();
  *distance = (float)(0.0343 * (*count) / 2);
}

/**
 *  @brief Microsecond delay
 *  @param None
 *  @retval None
 */
static void Delay_us(uint16_t delay)
{
  __HAL_TIM_SET_COUNTER (&htim1, 0);
  while (__HAL_TIM_GET_COUNTER(&htim1) < delay);
}

/**
 *  @brief Reset Microsecond timer
 *  @param None
 *  @retval None
 */
static void Reset_Timer_us(){
  __HAL_TIM_SET_COUNTER (&htim1, 0);
}

/**
 *  @brief Get Microsecond timer current count
 *  @param None
 *  @retval None
 */
static uint16_t Get_Timer_us()
{
  return __HAL_TIM_GET_COUNTER(&htim1);
}

/* USER CODE END 4 */

void Error_Handler(void)
{
}

/************************ (C) COPYRIGHT STMicroelectronics *****END OF FILE****/
